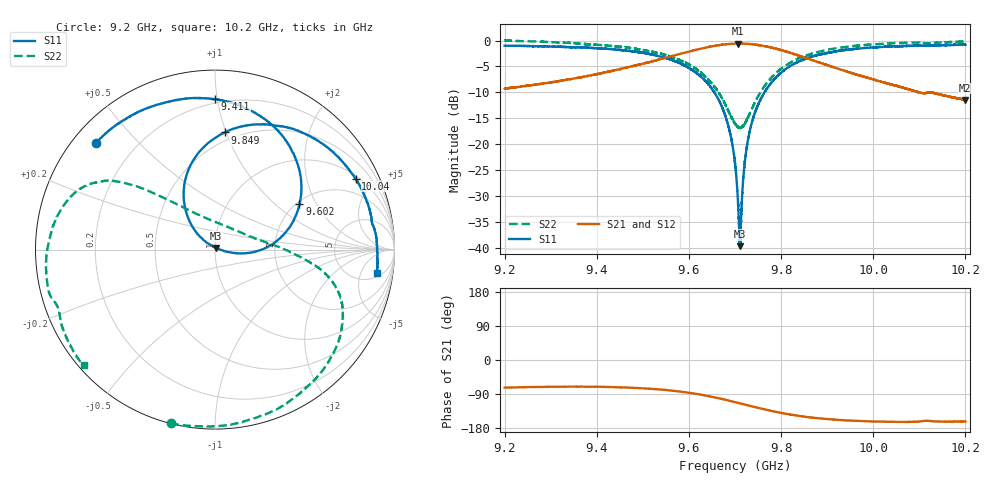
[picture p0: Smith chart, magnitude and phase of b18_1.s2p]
!Agilent Technologies,N5242A,MY51221714,A.09.90.19
!Agilent N5242A: A.09.90.19
!Date: Tuesday, March 26, 2024 16:57:23
!Correction: S11(Full 2 Port(1,2))
!S21(Full 2 Port(1,2))
!S12(Full 2 Port(1,2))
!S22(Full 2 Port(1,2))
!S2P File: Measurements: S11, S21, S12, S22:
# Hz S  dB  R 50
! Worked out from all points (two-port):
!   16001 points, 9.2 GHz to 10.2 GHz, reference 50 ohm
!   highest |S21| = -0.58 dB at 9.707 GHz (marker M1); lowest = -11.5 dB at 10.2 GHz (marker M2)
!   |S21| within 3 dB of the highest: 9.538675 GHz to 9.538883 GHz (208.6 kHz wide, 0.00219 % of centre); 9.539 GHz to 9.861 GHz (322 MHz wide, 3.32 % of centre)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
!   lowest |S11| = -39.7 dB at 9.711 GHz (marker M3), VSWR 1.02, Z = 50.4 + j0.97 ohm
!   |S11| at or under -10 dB: 9.655151 GHz to 9.655228 GHz (76.67 kHz wide, 0.000794 % of centre); 9.655 GHz to 9.764 GHz (108.8 MHz wide, 1.12 % of centre)
!   |S22| runs from -16.9 to 0.0 dB; largest |S21 - S12| = 0.013
!   S11 on the Smith chart (normalised r, x): 9.2 GHz: 0.07, +0.38; 9.411 GHz: 0.18, +0.99; 9.602 GHz: 2.07, +1.47; 9.849 GHz: 0.43, +0.99; 10.04 GHz: 1.13, +3.89; 10.2 GHz: 6, -10
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9.2e9  -1.00 138.1  -9.29 -73.0  -9.27 -73.7  -0.01 -104.2
9.277312e9  -1.11 121.4  -8.38 -71.1  -8.39 -71.7  -0.22 -83.1
9.366688e9  -1.34 100.9  -7.08 -70.4  -7.07 -71.1  -0.64 -59.7
9.410625e9  -1.53 89.9  -6.29 -70.8  -6.28 -71.6  -0.89 -48.6
9.533375e9  -3.00 53.9  -3.72 -77.4  -3.70 -78.0  -2.42 -21.6
9.602375e9  -5.44 28.4  -2.09 -86.9  -2.08 -87.6  -4.74 -9.7
9.667812e9  -12.03 -0.8  -0.87 -101.9  -0.85 -102.4  -10.53 6.9
9.6875e9  -17.18 -8.6  -0.66 -107.4  -0.65 -108.0  -13.94 22.8
9.7e9  -23.66 -10.1  -0.60 -111.1  -0.59 -111.7  -16.01 43.2
9.70675e9  -31.81 2.7  -0.58 -113.2  -0.58 -113.8  -16.71 58.2
9.71075e9  -39.71 68.7  -0.60 -114.4  -0.58 -115.0  -16.80 67.8
9.7135e9  -33.74 120.4  -0.60 -115.2  -0.58 -115.8  -16.82 75.1
9.725688e9  -20.58 139.5  -0.64 -119.0  -0.62 -119.6  -15.32 101.2
9.747125e9  -13.02 131.0  -0.84 -125.4  -0.82 -126.1  -11.28 124.5
9.787812e9  -7.23 111.7  -1.56 -136.6  -1.57 -137.3  -6.37 138.0
9.848562e9  -3.67 85.3  -3.19 -149.1  -3.21 -149.6  -3.10 146.8
9.866688e9  -3.12 78.4  -3.75 -151.9  -3.75 -152.5  -2.55 149.3
9.934875e9  -1.88 55.6  -5.77 -158.8  -5.77 -159.5  -1.31 160.6
1.003338e10  -1.18 28.6  -8.36 -163.0  -8.34 -163.5  -0.57 -179.2
1.0041e10  -1.13 26.8  -8.53 -163.1  -8.53 -163.7  -0.54 -177.5
1.019969e10  -0.82 -8.1  -11.46 -162.2  -11.44 -162.9  -0.20 -138.8
1.02e10  -0.80 -8.2  -11.45 -162.2  -11.47 -162.8  -0.21 -138.6
